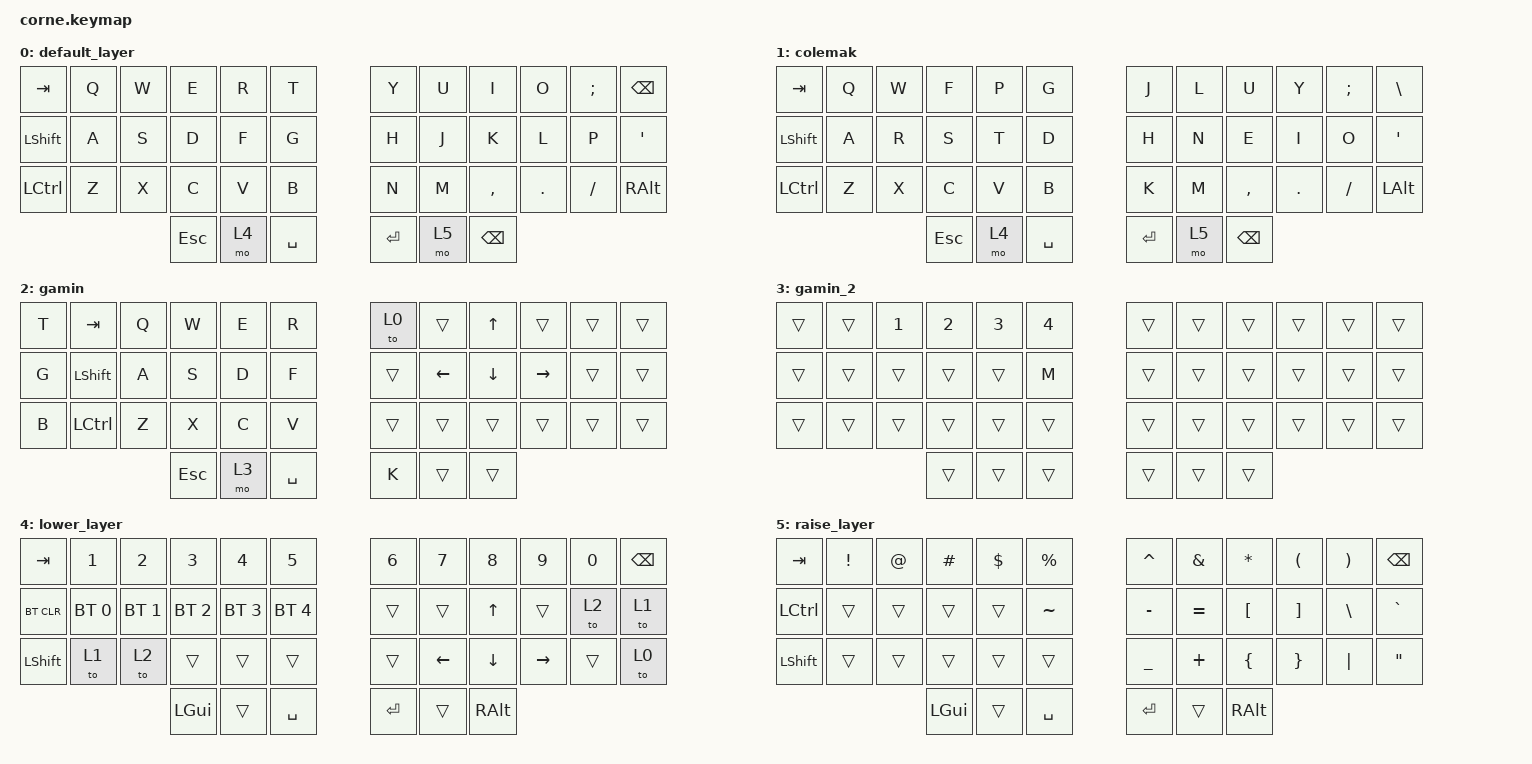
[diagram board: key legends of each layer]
/*
 * Copyright (c) 2020 The ZMK Contributors
 *
 * SPDX-License-Identifier: MIT
 */

#include <behaviors.dtsi>
#include <dt-bindings/zmk/bt.h>
#include <dt-bindings/zmk/keys.h>

/ {
    /* ==========================================================
     *  Custom combo + macro: Lower + Tab -> Alt+Tab (task switch)
     *  ----------------------------------------------------------
     *  NOTE: Replace the <row col> pairs in `key-positions` with
     *  the actual matrix positions for your Tab and Lower keys.
     *  Example shown assumes:
     *      - Tab  : matrix position <0 0>
     *      - Lower: matrix position <3 1>
     *  Get the correct numbers from your `kscan` matrix in the
     *  board overlay and adjust if necessary.
     * ========================================================== */

    keymap {
        compatible = "zmk,keymap";

        default_layer {
            /* -------------------------------------------------------------
             * |  TAB |  Q  |  W  |  E  |  R  |  T  |   |  Y  |  U   |  I  |  O  |  ;  | BSPC |
             * | SHFT |  A  |  S  |  D  |  F  |  G  |   |  H  |  J   |  K  |  L  |  P  |  '   |
             * | CTRL |  Z  |  X  |  C  |  V  |  B  |   |  N  |  M   |  ,  |  .  |  /  | RALT |
             *                    | ESC | LWR | SPC |   | ENT | RSE  | BSPC |
             * ------------------------------------------------------------- */

            bindings = <
&kp TAB    &kp Q  &kp W  &kp E    &kp R  &kp T        &kp Y    &kp U  &kp I      &kp O    &kp SEMI  &kp BSPC
&kp LSHFT  &kp A  &kp S  &kp D    &kp F  &kp G        &kp H    &kp J  &kp K      &kp L    &kp P     &kp SQT
&kp LCTRL  &kp Z  &kp X  &kp C    &kp V  &kp B        &kp N    &kp M  &kp COMMA  &kp DOT  &kp FSLH  &kp RALT
                         &kp ESC  &mo 4  &kp SPACE    &kp RET  &mo 5  &kp BSPC
            >;
        };

        colemak {
            bindings = <
&kp TAB    &kp Q  &kp W  &kp F    &kp P  &kp G        &kp J      &kp L  &kp U      &kp Y    &kp SEMI  &kp BSLH
&kp LSHFT  &kp A  &kp R  &kp S    &kp T  &kp D        &kp H      &kp N  &kp E      &kp I    &kp O     &kp APOS
&kp LCTRL  &kp Z  &kp X  &kp C    &kp V  &kp B        &kp K      &kp M  &kp COMMA  &kp DOT  &kp FSLH  &kp LALT
                         &kp ESC  &mo 4  &kp SPACE    &kp ENTER  &mo 5  &kp BSPC
            >;
        };

        gamin {
            bindings = <
&kp T  &kp TAB    &kp Q  &kp W    &kp E  &kp R        &to 0   &trans    &kp UP_ARROW  &trans     &trans  &trans
&kp G  &kp LSHFT  &kp A  &kp S    &kp D  &kp F        &trans  &kp LEFT  &kp DOWN      &kp RIGHT  &trans  &trans
&kp B  &kp LCTRL  &kp Z  &kp X    &kp C  &kp V        &trans  &trans    &trans        &trans     &trans  &trans
                         &kp ESC  &mo 3  &kp SPACE    &kp K   &trans    &trans
            >;
        };

        gamin_2 {
            bindings = <
&trans  &trans  &kp NUMBER_1  &kp NUMBER_2  &kp N3  &kp N4    &trans  &trans  &trans  &trans  &trans  &trans
&trans  &trans  &trans        &trans        &trans  &kp M     &trans  &trans  &trans  &trans  &trans  &trans
&trans  &trans  &trans        &trans        &trans  &trans    &trans  &trans  &trans  &trans  &trans  &trans
                              &trans        &trans  &trans    &trans  &trans  &trans
            >;
        };

        lower_layer {
            /* -------------------------------------------------------------
             * |  TAB |  1  |  2  |  3  |  4  |  5  |   |  6  |  7  |  8  |  9  |  0  | BSPC |
             * | BTCLR| BT1 | BT2 | BT3 | BT4 | BT5 |   |     |     |  UP |     |     |      |
             * | SHFT |     |     |     |     |     |   |     | LFT | DWN | RGT |     |      |
             *                    | GUI |     | SPC |   | ENT |     | ALT |
             * ------------------------------------------------------------- */

            bindings = <
&kp TAB     &kp N1        &kp N2        &kp N3        &kp N4        &kp N5          &kp N6   &kp N7    &kp N8    &kp N9     &kp N0  &kp BSPC
&bt BT_CLR  &bt BT_SEL 0  &bt BT_SEL 1  &bt BT_SEL 2  &bt BT_SEL 3  &bt BT_SEL 4    &trans   &trans    &kp UP    &trans     &to 2   &to 1
&kp LSHFT   &to 1         &to 2         &trans        &trans        &trans          &trans   &kp LEFT  &kp DOWN  &kp RIGHT  &trans  &to 0
                                        &kp LGUI      &trans        &kp SPACE       &kp RET  &trans    &kp RALT
            >;
        };

        raise_layer {
            /* -------------------------------------------------------------
             * |  TAB |  !  |  @  |  #  |  $  |  %  |   |  ^  |  &  |  *  |  (  |  )  | BSPC|
             * | CTRL |     |     |     |     |  ~  |   |  -  |  =  |  [  |  ]  |  \  |  `  |
             * | SHFT |     |     |     |     |     |   |  _  |  +  |  {  |  }  | "|" |  "  |
             *                    | GUI |     | SPC |   | ENT |     | ALT |
             * ------------------------------------------------------------- */

            bindings = <
&kp TAB    &kp EXCL  &kp AT  &kp HASH  &kp DLLR  &kp PRCNT    &kp CARET  &kp AMPS   &kp ASTRK  &kp LPAR  &kp RPAR  &kp BSPC
&kp LCTRL  &trans    &trans  &trans    &trans    &kp TILDE    &kp MINUS  &kp EQUAL  &kp LBKT   &kp RBKT  &kp BSLH  &kp GRAVE
&kp LSHFT  &trans    &trans  &trans    &trans    &trans       &kp UNDER  &kp PLUS   &kp LBRC   &kp RBRC  &kp PIPE  &kp DQT
                             &kp LGUI  &trans    &kp SPACE    &kp RET    &trans     &kp RALT
            >;
        };
    };
};
